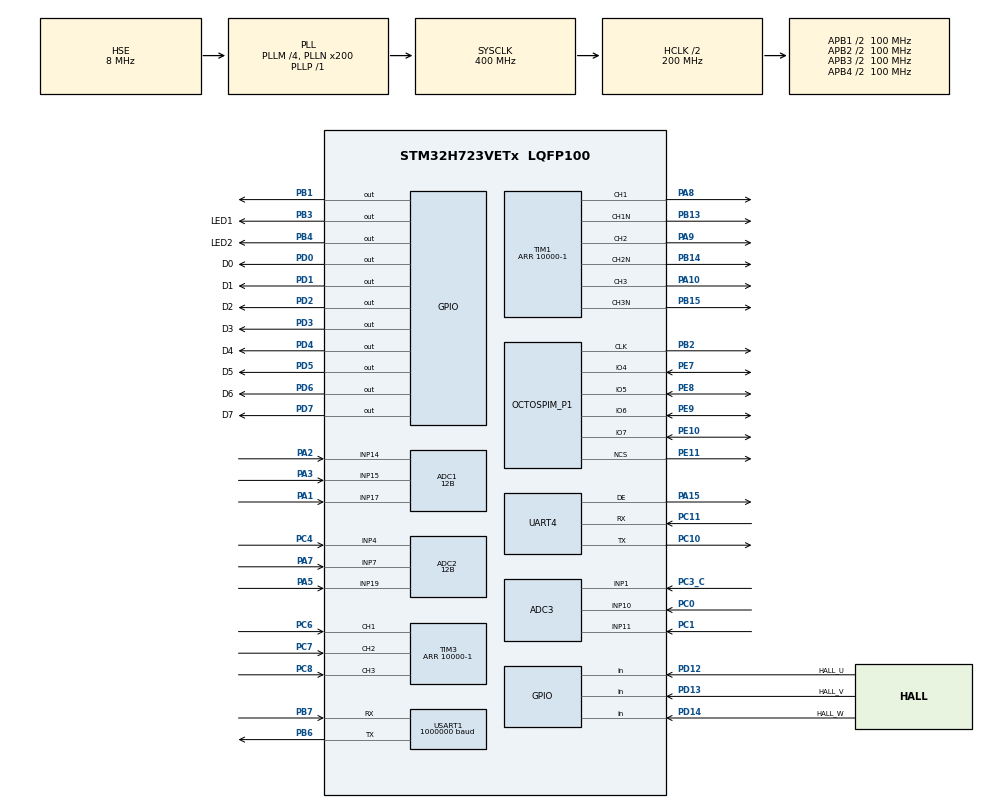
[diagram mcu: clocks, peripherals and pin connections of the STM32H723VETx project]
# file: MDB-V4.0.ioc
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ADC1.Channel-0\#ChannelRegularConversion=ADC_CHANNEL_17
ADC1.Channel-1\#ChannelRegularConversion=ADC_CHANNEL_14
ADC1.Channel-2\#ChannelRegularConversion=ADC_CHANNEL_15
ADC1.ClockPrescaler=ADC_CLOCK_ASYNC_DIV2
ADC1.ClockPrescalerADC3=ADC_CLOCK_ASYNC_DIV2
ADC1.ConversionDataManagement=ADC_CONVERSIONDATA_DMA_CIRCULAR
ADC1.EOCSelection=ADC_EOC_SEQ_CONV
ADC1.ExternalTrigConv=ADC_EXTERNALTRIG_T1_TRGO
ADC1.NbrOfConversion=3
ADC1.NbrOfConversionFlag=1
ADC1.OffsetNumber-0\#ChannelRegularConversion=ADC_OFFSET_NONE
ADC1.OffsetNumber-1\#ChannelRegularConversion=ADC_OFFSET_NONE
ADC1.OffsetNumber-2\#ChannelRegularConversion=ADC_OFFSET_NONE
ADC1.OffsetSignedSaturation-0\#ChannelRegularConversion=DISABLE
ADC1.Rank-0\#ChannelRegularConversion=1
ADC1.Rank-1\#ChannelRegularConversion=2
ADC1.Rank-2\#ChannelRegularConversion=3
ADC1.Resolution=ADC_RESOLUTION_12B
ADC1.SamplingTime-0\#ChannelRegularConversion=ADC_SAMPLETIME_2CYCLES_5
ADC1.SamplingTime-1\#ChannelRegularConversion=ADC_SAMPLETIME_2CYCLES_5
ADC1.SamplingTime-2\#ChannelRegularConversion=ADC_SAMPLETIME_2CYCLES_5
ADC1.master=1
ADC2.Channel-0\#ChannelRegularConversion=ADC_CHANNEL_19
ADC2.Channel-1\#ChannelRegularConversion=ADC_CHANNEL_4
ADC2.Channel-2\#ChannelRegularConversion=ADC_CHANNEL_7
ADC2.ClockPrescaler=ADC_CLOCK_ASYNC_DIV2
ADC2.ClockPrescalerADC3=ADC_CLOCK_ASYNC_DIV2
ADC2.ConversionDataManagement=ADC_CONVERSIONDATA_DMA_CIRCULAR
ADC2.EOCSelection=ADC_EOC_SEQ_CONV
ADC2.ExternalTrigConv=ADC_EXTERNALTRIG_T1_TRGO
ADC2.NbrOfConversion=3
ADC2.NbrOfConversionFlag=1
ADC2.OffsetNumber-0\#ChannelRegularConversion=ADC_OFFSET_NONE
ADC2.OffsetNumber-1\#ChannelRegularConversion=ADC_OFFSET_NONE
ADC2.OffsetNumber-2\#ChannelRegularConversion=ADC_OFFSET_NONE
ADC2.OffsetSignedSaturation-0\#ChannelRegularConversion=DISABLE
ADC2.Rank-0\#ChannelRegularConversion=1
ADC2.Rank-1\#ChannelRegularConversion=2
ADC2.Rank-2\#ChannelRegularConversion=3
ADC2.Resolution=ADC_RESOLUTION_12B
ADC2.SamplingTime-0\#ChannelRegularConversion=ADC_SAMPLETIME_2CYCLES_5
ADC2.SamplingTime-1\#ChannelRegularConversion=ADC_SAMPLETIME_2CYCLES_5
ADC2.SamplingTime-2\#ChannelRegularConversion=ADC_SAMPLETIME_2CYCLES_5
ADC3.Channel-0\#ChannelRegularConversion=ADC_CHANNEL_1
ADC3.Channel-1\#ChannelRegularConversion=ADC_CHANNEL_11
ADC3.Channel-2\#ChannelRegularConversion=ADC_CHANNEL_10
ADC3.ClockPrescaler=ADC_CLOCK_ASYNC_DIV2
ADC3.ClockPrescalerADC3=ADC_CLOCK_ASYNC_DIV2
ADC3.ConversionDataManagement=ADC_CONVERSIONDATA_DMA_CIRCULAR
ADC3.DMAContinuousRequests=ENABLE
ADC3.EOCSelection=ADC_EOC_SEQ_CONV
ADC3.ExternalTrigConv=ADC_EXTERNALTRIG_T1_TRGO
ADC3.NbrOfConversion=3
ADC3.NbrOfConversionFlag=1
ADC3.OffsetNumber-0\#ChannelRegularConversion=ADC_OFFSET_NONE
ADC3.OffsetNumber-1\#ChannelRegularConversion=ADC_OFFSET_NONE
ADC3.OffsetNumber-2\#ChannelRegularConversion=ADC_OFFSET_NONE
ADC3.OffsetSign-0\#ChannelRegularConversion=ADC3_OFFSET_SIGN_NEGATIVE
ADC3.OffsetSign-1\#ChannelRegularConversion=ADC3_OFFSET_SIGN_NEGATIVE
ADC3.OffsetSign-2\#ChannelRegularConversion=ADC3_OFFSET_SIGN_NEGATIVE
ADC3.Rank-0\#ChannelRegularConversion=1
ADC3.Rank-1\#ChannelRegularConversion=2
ADC3.Rank-2\#ChannelRegularConversion=3
ADC3.SamplingTime-0\#ChannelRegularConversion=ADC3_SAMPLETIME_2CYCLES_5
ADC3.SamplingTime-1\#ChannelRegularConversion=ADC3_SAMPLETIME_2CYCLES_5
ADC3.SamplingTime-2\#ChannelRegularConversion=ADC3_SAMPLETIME_2CYCLES_5
Dma.ADC1.2.Direction=DMA_PERIPH_TO_MEMORY
Dma.ADC1.2.EventEnable=DISABLE
Dma.ADC1.2.FIFOMode=DMA_FIFOMODE_DISABLE
Dma.ADC1.2.Instance=DMA1_Stream0
Dma.ADC1.2.MemDataAlignment=DMA_MDATAALIGN_HALFWORD
Dma.ADC1.2.MemInc=DMA_MINC_ENABLE
Dma.ADC1.2.Mode=DMA_CIRCULAR
Dma.ADC1.2.PeriphDataAlignment=DMA_PDATAALIGN_HALFWORD
Dma.ADC1.2.PeriphInc=DMA_PINC_DISABLE
Dma.ADC1.2.Polarity=HAL_DMAMUX_REQ_GEN_RISING
Dma.ADC1.2.Priority=DMA_PRIORITY_VERY_HIGH
Dma.ADC1.2.RequestNumber=1
Dma.ADC1.2.SignalID=NONE
Dma.ADC1.2.SyncEnable=DISABLE
Dma.ADC1.2.SyncPolarity=HAL_DMAMUX_SYNC_NO_EVENT
Dma.ADC1.2.SyncRequestNumber=1
Dma.ADC1.2.SyncSignalID=NONE
Dma.ADC2.3.Direction=DMA_PERIPH_TO_MEMORY
Dma.ADC2.3.EventEnable=DISABLE
Dma.ADC2.3.FIFOMode=DMA_FIFOMODE_DISABLE
Dma.ADC2.3.Instance=DMA1_Stream1
Dma.ADC2.3.MemDataAlignment=DMA_MDATAALIGN_HALFWORD
Dma.ADC2.3.MemInc=DMA_MINC_ENABLE
Dma.ADC2.3.Mode=DMA_CIRCULAR
Dma.ADC2.3.PeriphDataAlignment=DMA_PDATAALIGN_HALFWORD
Dma.ADC2.3.PeriphInc=DMA_PINC_DISABLE
Dma.ADC2.3.Polarity=HAL_DMAMUX_REQ_GEN_RISING
Dma.ADC2.3.Priority=DMA_PRIORITY_VERY_HIGH
Dma.ADC2.3.RequestNumber=1
Dma.ADC2.3.SignalID=NONE
Dma.ADC2.3.SyncEnable=DISABLE
Dma.ADC2.3.SyncPolarity=HAL_DMAMUX_SYNC_NO_EVENT
Dma.ADC2.3.SyncRequestNumber=1
Dma.ADC2.3.SyncSignalID=NONE
Dma.ADC3.4.Direction=DMA_PERIPH_TO_MEMORY
Dma.ADC3.4.EventEnable=DISABLE
Dma.ADC3.4.FIFOMode=DMA_FIFOMODE_DISABLE
Dma.ADC3.4.Instance=DMA1_Stream2
Dma.ADC3.4.MemDataAlignment=DMA_MDATAALIGN_HALFWORD
Dma.ADC3.4.MemInc=DMA_MINC_ENABLE
Dma.ADC3.4.Mode=DMA_CIRCULAR
Dma.ADC3.4.PeriphDataAlignment=DMA_PDATAALIGN_HALFWORD
Dma.ADC3.4.PeriphInc=DMA_PINC_DISABLE
Dma.ADC3.4.Polarity=HAL_DMAMUX_REQ_GEN_RISING
Dma.ADC3.4.Priority=DMA_PRIORITY_VERY_HIGH
Dma.ADC3.4.RequestNumber=1
Dma.ADC3.4.SignalID=NONE
Dma.ADC3.4.SyncEnable=DISABLE
Dma.ADC3.4.SyncPolarity=HAL_DMAMUX_SYNC_NO_EVENT
Dma.ADC3.4.SyncRequestNumber=1
Dma.ADC3.4.SyncSignalID=NONE
Dma.Request0=USART1_RX
Dma.Request1=USART1_TX
Dma.Request2=ADC1
Dma.Request3=ADC2
Dma.Request4=ADC3
Dma.USART1_RX.0.Direction=DMA_PERIPH_TO_MEMORY
Dma.USART1_RX.0.EventEnable=DISABLE
Dma.USART1_RX.0.FIFOMode=DMA_FIFOMODE_DISABLE
Dma.USART1_RX.0.Instance=DMA1_Stream3
Dma.USART1_RX.0.MemDataAlignment=DMA_MDATAALIGN_BYTE
Dma.USART1_RX.0.MemInc=DMA_MINC_ENABLE
Dma.USART1_RX.0.Mode=DMA_NORMAL
Dma.USART1_RX.0.PeriphDataAlignment=DMA_PDATAALIGN_BYTE
Dma.USART1_RX.0.PeriphInc=DMA_PINC_DISABLE
Dma.USART1_RX.0.Polarity=HAL_DMAMUX_REQ_GEN_RISING
Dma.USART1_RX.0.Priority=DMA_PRIORITY_LOW
Dma.USART1_RX.0.RequestNumber=1
Dma.USART1_RX.0.SignalID=NONE
Dma.USART1_RX.0.SyncEnable=DISABLE
Dma.USART1_RX.0.SyncPolarity=HAL_DMAMUX_SYNC_NO_EVENT
Dma.USART1_RX.0.SyncRequestNumber=1
Dma.USART1_RX.0.SyncSignalID=NONE
Dma.USART1_TX.1.Direction=DMA_MEMORY_TO_PERIPH
Dma.USART1_TX.1.EventEnable=DISABLE
Dma.USART1_TX.1.FIFOMode=DMA_FIFOMODE_DISABLE
Dma.USART1_TX.1.Instance=DMA1_Stream4
Dma.USART1_TX.1.MemDataAlignment=DMA_MDATAALIGN_BYTE
Dma.USART1_TX.1.MemInc=DMA_MINC_ENABLE
Dma.USART1_TX.1.Mode=DMA_NORMAL
Dma.USART1_TX.1.PeriphDataAlignment=DMA_PDATAALIGN_BYTE
Dma.USART1_TX.1.PeriphInc=DMA_PINC_DISABLE
Dma.USART1_TX.1.Polarity=HAL_DMAMUX_REQ_GEN_RISING
Dma.USART1_TX.1.Priority=DMA_PRIORITY_LOW
Dma.USART1_TX.1.RequestNumber=1
Dma.USART1_TX.1.SignalID=NONE
Dma.USART1_TX.1.SyncEnable=DISABLE
Dma.USART1_TX.1.SyncPolarity=HAL_DMAMUX_SYNC_NO_EVENT
Dma.USART1_TX.1.SyncRequestNumber=1
Dma.USART1_TX.1.SyncSignalID=NONE
Mcu.Family=STM32H7
Mcu.Name=STM32H723VETx
Mcu.Package=LQFP100
NVIC.DMA1_Stream0_IRQn=true\:0\:0\:false\:false\:true\:false\:true\:true
NVIC.DMA1_Stream1_IRQn=true\:0\:0\:false\:false\:true\:false\:true\:true
NVIC.DMA1_Stream2_IRQn=true\:0\:0\:false\:false\:true\:false\:true\:true
NVIC.DMA1_Stream3_IRQn=true\:0\:0\:false\:false\:true\:false\:true\:true
NVIC.DMA1_Stream4_IRQn=true\:0\:0\:false\:false\:true\:false\:true\:true
NVIC.PriorityGroup=NVIC_PRIORITYGROUP_4
NVIC.TIM1_UP_IRQn=true\:0\:0\:false\:false\:true\:true\:true\:true
NVIC.USART1_IRQn=true\:0\:0\:false\:false\:true\:true\:true\:true
PA1.Mode=IN17-Single-Ended
PA1.Signal=ADC1_INP17
PA10.Signal=S_TIM1_CH3
PA13(JTMS/SWDIO).Mode=Serial_Wire
PA13(JTMS/SWDIO).Signal=DEBUG_JTMS-SWDIO
PA14(JTCK/SWCLK).Mode=Serial_Wire
PA14(JTCK/SWCLK).Signal=DEBUG_JTCK-SWCLK
PA15(JTDI).Mode=Hardware Flow Control (RS485)
PA15(JTDI).Signal=UART4_DE
PA2.Signal=ADCx_INP14
PA3.Signal=ADCx_INP15
PA5.Signal=ADCx_INP19
PA7.Signal=ADCx_INP7
PA8.Signal=S_TIM1_CH1
PA9.Signal=S_TIM1_CH2
PB1.PinState=GPIO_PIN_SET
PB1.Signal=GPIO_Output
PB13.Mode=PWM Generation1 CH1 CH1N
PB13.Signal=TIM1_CH1N
PB14.Mode=PWM Generation2 CH2 CH2N
PB14.Signal=TIM1_CH2N
PB15.Mode=PWM Generation3 CH3 CH3N
PB15.Signal=TIM1_CH3N
PB2.Mode=O1_P1_CLK
PB2.Signal=OCTOSPIM_P1_CLK
PB3(JTDO/TRACESWO).GPIO_Label=LED1
PB3(JTDO/TRACESWO).PinState=GPIO_PIN_SET
PB3(JTDO/TRACESWO).Signal=GPIO_Output
PB4(NJTRST).GPIO_Label=LED2
PB4(NJTRST).PinState=GPIO_PIN_SET
PB4(NJTRST).Signal=GPIO_Output
PB6.Mode=Asynchronous
PB6.Signal=USART1_TX
PB7.Mode=Asynchronous
PB7.Signal=USART1_RX
PC0.Signal=ADCx_INP10
PC1.Signal=ADCx_INP11
PC10.Mode=Asynchronous
PC10.Signal=UART4_TX
PC11.Mode=Asynchronous
PC11.Signal=UART4_RX
PC3_C.Mode=IN1-Single-Ended
PC3_C.Signal=ADC3_INP1
PC4.Signal=ADCx_INP4
PC6.GPIO_PuPd=GPIO_PULLUP
PC6.Signal=S_TIM3_CH1
PC7.GPIO_PuPd=GPIO_PULLUP
PC7.Signal=S_TIM3_CH2
PC8.GPIO_PuPd=GPIO_PULLUP
PC8.Signal=S_TIM3_CH3
PD0.GPIO_Label=D0
PD0.Signal=GPIO_Output
PD1.GPIO_Label=D1
PD1.Signal=GPIO_Output
PD12.GPIO_Label=HALL_U
PD12.GPIO_PuPd=GPIO_PULLUP
PD12.Signal=GPIO_Input
PD13.GPIO_Label=HALL_V
PD13.GPIO_PuPd=GPIO_PULLUP
PD13.Signal=GPIO_Input
PD14.GPIO_Label=HALL_W
PD14.GPIO_PuPd=GPIO_PULLUP
PD14.Signal=GPIO_Input
PD2.GPIO_Label=D2
PD2.Signal=GPIO_Output
PD3.GPIO_Label=D3
PD3.Signal=GPIO_Output
PD4.GPIO_Label=D4
PD4.Signal=GPIO_Output
PD5.GPIO_Label=D5
PD5.Signal=GPIO_Output
PD6.GPIO_Label=D6
PD6.Signal=GPIO_Output
PD7.GPIO_Label=D7
PD7.Signal=GPIO_Output
PE10.Mode=OCTOSPI1_IOL_Port1H
PE10.Signal=OCTOSPIM_P1_IO7
PE11.Mode=OCTOSPI1_Port1_NCS
PE11.Signal=OCTOSPIM_P1_NCS
PE7.Mode=OCTOSPI1_IOL_Port1H
PE7.Signal=OCTOSPIM_P1_IO4
PE8.Mode=OCTOSPI1_IOL_Port1H
PE8.Signal=OCTOSPIM_P1_IO5
PE9.Mode=OCTOSPI1_IOL_Port1H
PE9.Signal=OCTOSPIM_P1_IO6
PH0-OSC_IN.Mode=HSE-External-Oscillator
PH0-OSC_IN.Signal=RCC_OSC_IN
PH1-OSC_OUT.Mode=HSE-External-Oscillator
PH1-OSC_OUT.Signal=RCC_OSC_OUT
ProjectManager.HeapSize=0x200
ProjectManager.StackSize=0x400
ProjectManager.TargetToolchain=STM32CubeIDE
RCC.ADCFreq_Value=36000000
RCC.APB1Freq_Value=100000000
RCC.APB2Freq_Value=100000000
RCC.APB3Freq_Value=100000000
RCC.APB4Freq_Value=100000000
RCC.CortexFreq_Value=400000000
RCC.D1PPRE=RCC_APB3_DIV2
RCC.D2PPRE1=RCC_APB1_DIV2
RCC.D2PPRE2=RCC_APB2_DIV2
RCC.D3PPRE=RCC_APB4_DIV2
RCC.DIVM1=4
RCC.DIVM2=8
RCC.DIVN1=200
RCC.DIVN2=180
RCC.DIVP1=1
RCC.DIVP2=5
RCC.HCLKFreq_Value=200000000
RCC.HPRE=RCC_HCLK_DIV2
RCC.HSE_VALUE=8000000
RCC.PLL1_VCO_SEL-AdvancedSettings=RCC_PLL1VCOMEDIUM
RCC.PLLSourceVirtual=RCC_PLLSOURCE_HSE
RCC.SYSCLKFreq_VALUE=400000000
RCC.SYSCLKSource=RCC_SYSCLKSOURCE_PLLCLK
RCC.USBFreq_Value=200000000
SH.ADCx_INP10.0=ADC3_INP10,IN10-Single-Ended
SH.ADCx_INP11.0=ADC3_INP11,IN11-Single-Ended
SH.ADCx_INP14.0=ADC1_INP14,IN14-Single-Ended
SH.ADCx_INP15.0=ADC1_INP15,IN15-Single-Ended
SH.ADCx_INP19.0=ADC2_INP19,IN19-Single-Ended
SH.ADCx_INP4.0=ADC2_INP4,IN4-Single-Ended
SH.ADCx_INP7.0=ADC2_INP7,IN7-Single-Ended
SH.S_TIM1_CH1.0=TIM1_CH1,PWM Generation1 CH1 CH1N
SH.S_TIM1_CH2.0=TIM1_CH2,PWM Generation2 CH2 CH2N
SH.S_TIM1_CH3.0=TIM1_CH3,PWM Generation3 CH3 CH3N
SH.S_TIM3_CH1.0=TIM3_CH1,Encoder_Interface
SH.S_TIM3_CH2.0=TIM3_CH2,Encoder_Interface
SH.S_TIM3_CH3.0=TIM3_CH3,Input_Capture3_from_TI3
TIM1.Channel-PWM\ Generation1\ CH1\ CH1N=TIM_CHANNEL_1
TIM1.Channel-PWM\ Generation2\ CH2\ CH2N=TIM_CHANNEL_2
TIM1.Channel-PWM\ Generation3\ CH3\ CH3N=TIM_CHANNEL_3
TIM1.CounterMode=TIM_COUNTERMODE_CENTERALIGNED3
TIM1.Period=10000-1
TIM1.Pulse-PWM\ Generation1\ CH1\ CH1N=5000
TIM1.Pulse-PWM\ Generation2\ CH2\ CH2N=5000
TIM1.Pulse-PWM\ Generation3\ CH3\ CH3N=5000
TIM1.TIM_MasterOutputTrigger=TIM_TRGO_UPDATE
TIM3.Channel-Input_Capture3_from_TI3=TIM_CHANNEL_3
TIM3.EncoderMode=TIM_ENCODERMODE_TI12
TIM3.IC1Filter=1
TIM3.IC2Filter=1
TIM3.ICFilter_CH3=1
TIM3.Period=10000-1
USART1.BaudRate=1000000
USART1.VirtualMode-Asynchronous=VM_ASYNC
VP_OCTOSPI1_VS_quad.Mode=quad_mode
VP_TIM1_VS_ClockSourceINT.Mode=Internal
board=custom

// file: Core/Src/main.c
/* USER CODE BEGIN Header */
/**
  ******************************************************************************
  * @file           : main.c
  * @brief          : Main program body
  ******************************************************************************
  * @attention
  *
  * Copyright (c) 2023 STMicroelectronics.
  * All rights reserved.
  *
  * This software is licensed under terms that can be found in the LICENSE file
  * in the root directory of this software component.
  * If no LICENSE file comes with this software, it is provided AS-IS.
  *
  ******************************************************************************
  */
/* USER CODE END Header */
#include "main.h"
#include "adc.h"
#include "dma.h"
#include "octospi.h"
#include "tim.h"
#include "usart.h"
#include "gpio.h"

/* USER CODE BEGIN Includes */
#include "app_foc.h"
#include "app_simulink.h"
#include "MC.h"

/* USER CODE END Includes */

/* USER CODE BEGIN PV */
uint32_t tick,tick_last = 0;
int16_t adc1[6];
int16_t adc2[6];
int16_t adc3[6];

/* USER CODE END PV */

void SystemClock_Config(void);
void PeriphCommonClock_Config(void);

int main(void)
{

  /* MCU Configuration--------------------------------------------------------*/

  /* Reset of all peripherals, Initializes the Flash interface and the Systick. */
  HAL_Init();

  /* Configure the system clock */
  SystemClock_Config();

/* Configure the peripherals common clocks */
  PeriphCommonClock_Config();

  /* Initialize all configured peripherals */
  MX_GPIO_Init();
  MX_DMA_Init();
  MX_ADC1_Init();
  MX_ADC2_Init();
  MX_ADC3_Init();
  MX_TIM1_Init();
  MX_USART1_UART_Init();
  MX_UART4_Init();
  MX_TIM3_Init();
  MX_OCTOSPI1_Init();
  /* USER CODE BEGIN 2 */
  HAL_Delay(100);
  HAL_GPIO_WritePin(GPIOB, GPIO_PIN_1, SET);
  HAL_UART_EnableReceiverTimeout(&huart1);
  HAL_UART_ReceiverTimeout_Config(&huart1, 0xff);
  HAL_ADCEx_Calibration_Start(&hadc1,ADC_CALIB_OFFSET,ADC_SINGLE_ENDED);
  HAL_ADCEx_Calibration_Start(&hadc2,ADC_CALIB_OFFSET,ADC_SINGLE_ENDED);
  HAL_ADCEx_Calibration_Start(&hadc3,ADC_CALIB_OFFSET,ADC_SINGLE_ENDED);
  HAL_ADC_Start_DMA(&hadc1, (uint32_t *)adc1, 6);
  HAL_ADC_Start_DMA(&hadc2, (uint32_t *)adc2, 6);
  HAL_ADC_Start_DMA(&hadc3, (uint32_t *)adc3, 6);

  HAL_TIM_Encoder_Start(&htim3, TIM_CHANNEL_ALL);
  HAL_TIM_IC_Start_IT(&htim3, TIM_CHANNEL_3);
  HAL_TIM_PWM_Start(&htim1, TIM_CHANNEL_1);
  HAL_TIMEx_PWMN_Start(&htim1, TIM_CHANNEL_1);
  HAL_TIM_PWM_Start(&htim1, TIM_CHANNEL_2);
  HAL_TIMEx_PWMN_Start(&htim1, TIM_CHANNEL_2);
  HAL_TIM_PWM_Start(&htim1, TIM_CHANNEL_3);
  HAL_TIMEx_PWMN_Start(&htim1, TIM_CHANNEL_3);
  HAL_TIM_Base_Start_IT(&htim1);
  /* USER CODE END 2 */

  /* Infinite loop */
  /* USER CODE BEGIN WHILE */
  while (1)
  {
	  tick = HAL_GetTick();
	  if(tick%1000<500)
	  {
		  HAL_GPIO_WritePin(LED1_GPIO_Port, LED1_Pin, RESET);
	  }
	  else
	  {
		  HAL_GPIO_WritePin(LED1_GPIO_Port, LED1_Pin, SET);
	  }
	  if (tick > tick_last)
	  {
		  tick_last = tick;
          static int16_t send_buff[SIMULINK_DATA_LEN];
          send_buff[0] = tick%1000;		//time
		  send_buff[1] = rtY.ElecAngle*100;
		  send_buff[2] = rtY.MtrSpeed*100;							//Speed
		  send_buff[3] = *(int16_t*)SL_rec.data/100.0;
		  send_buff[4] = adc3[0]+adc3[3];	//IA
		  send_buff[5] = adc1[0]+adc1[3];	//IB
		  send_buff[6] = adc2[0]+adc2[3];	//IC
		  send_buff[7] = adc2[2]+adc2[5];	//IBUS
		  send_buff[8] = adc3[1]+adc3[4];	//VA
		  send_buff[9] = adc1[1]+adc1[4];	//VB
		  send_buff[10] = adc2[1]+adc2[4];	//VC
		  send_buff[11] = adc1[2]+adc1[5];	//VBUS

		  SL_data_send(send_buff);
	  }
    /* USER CODE END WHILE */

  }
}

void SystemClock_Config(void)
{
  RCC_OscInitTypeDef RCC_OscInitStruct = {0};
  RCC_ClkInitTypeDef RCC_ClkInitStruct = {0};

  /** Supply configuration update enable
  */
  HAL_PWREx_ConfigSupply(PWR_LDO_SUPPLY);

  /** Configure the main internal regulator output voltage
  */
  __HAL_PWR_VOLTAGESCALING_CONFIG(PWR_REGULATOR_VOLTAGE_SCALE1);

  while(!__HAL_PWR_GET_FLAG(PWR_FLAG_VOSRDY)) {}

  /** Macro to configure the PLL clock source
  */
  __HAL_RCC_PLL_PLLSOURCE_CONFIG(RCC_PLLSOURCE_HSE);

  /** Initializes the RCC Oscillators according to the specified parameters
  * in the RCC_OscInitTypeDef structure.
  */
  RCC_OscInitStruct.OscillatorType = RCC_OSCILLATORTYPE_HSE;
  RCC_OscInitStruct.HSEState = RCC_HSE_ON;
  RCC_OscInitStruct.PLL.PLLState = RCC_PLL_ON;
  RCC_OscInitStruct.PLL.PLLSource = RCC_PLLSOURCE_HSE;
  RCC_OscInitStruct.PLL.PLLM = 4;
  RCC_OscInitStruct.PLL.PLLN = 200;
  RCC_OscInitStruct.PLL.PLLP = 1;
  RCC_OscInitStruct.PLL.PLLQ = 2;
  RCC_OscInitStruct.PLL.PLLR = 2;
  RCC_OscInitStruct.PLL.PLLRGE = RCC_PLL1VCIRANGE_1;
  RCC_OscInitStruct.PLL.PLLVCOSEL = RCC_PLL1VCOWIDE;
  RCC_OscInitStruct.PLL.PLLFRACN = 0;
  if (HAL_RCC_OscConfig(&RCC_OscInitStruct) != HAL_OK)
  {
    Error_Handler();
  }

  /** Initializes the CPU, AHB and APB buses clocks
  */
  RCC_ClkInitStruct.ClockType = RCC_CLOCKTYPE_HCLK|RCC_CLOCKTYPE_SYSCLK
                              |RCC_CLOCKTYPE_PCLK1|RCC_CLOCKTYPE_PCLK2
                              |RCC_CLOCKTYPE_D3PCLK1|RCC_CLOCKTYPE_D1PCLK1;
  RCC_ClkInitStruct.SYSCLKSource = RCC_SYSCLKSOURCE_PLLCLK;
  RCC_ClkInitStruct.SYSCLKDivider = RCC_SYSCLK_DIV1;
  RCC_ClkInitStruct.AHBCLKDivider = RCC_HCLK_DIV2;
  RCC_ClkInitStruct.APB3CLKDivider = RCC_APB3_DIV2;
  RCC_ClkInitStruct.APB1CLKDivider = RCC_APB1_DIV2;
  RCC_ClkInitStruct.APB2CLKDivider = RCC_APB2_DIV2;
  RCC_ClkInitStruct.APB4CLKDivider = RCC_APB4_DIV2;

  if (HAL_RCC_ClockConfig(&RCC_ClkInitStruct, FLASH_LATENCY_2) != HAL_OK)
  {
    Error_Handler();
  }
}

void PeriphCommonClock_Config(void)
{
  RCC_PeriphCLKInitTypeDef PeriphClkInitStruct = {0};

  /** Initializes the peripherals clock
  */
  PeriphClkInitStruct.PeriphClockSelection = RCC_PERIPHCLK_ADC;
  PeriphClkInitStruct.PLL2.PLL2M = 8;
  PeriphClkInitStruct.PLL2.PLL2N = 180;
  PeriphClkInitStruct.PLL2.PLL2P = 5;
  PeriphClkInitStruct.PLL2.PLL2Q = 2;
  PeriphClkInitStruct.PLL2.PLL2R = 2;
  PeriphClkInitStruct.PLL2.PLL2RGE = RCC_PLL2VCIRANGE_0;
  PeriphClkInitStruct.PLL2.PLL2VCOSEL = RCC_PLL2VCOMEDIUM;
  PeriphClkInitStruct.PLL2.PLL2FRACN = 0;
  PeriphClkInitStruct.AdcClockSelection = RCC_ADCCLKSOURCE_PLL2;
  if (HAL_RCCEx_PeriphCLKConfig(&PeriphClkInitStruct) != HAL_OK)
  {
    Error_Handler();
  }
}

void Error_Handler(void)
{
  __disable_irq();
  while (1)
  {
  }
}
